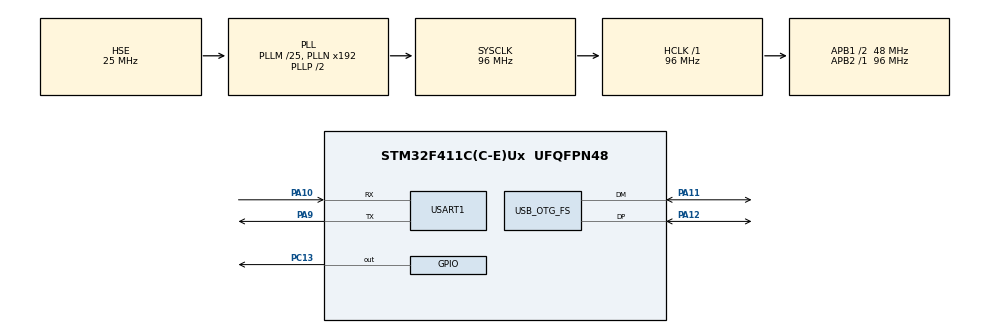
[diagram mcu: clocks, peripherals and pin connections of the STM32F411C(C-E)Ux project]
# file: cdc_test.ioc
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Dma.Request0=USART1_RX
Dma.USART1_RX.0.Direction=DMA_PERIPH_TO_MEMORY
Dma.USART1_RX.0.FIFOMode=DMA_FIFOMODE_DISABLE
Dma.USART1_RX.0.Instance=DMA2_Stream2
Dma.USART1_RX.0.MemDataAlignment=DMA_MDATAALIGN_BYTE
Dma.USART1_RX.0.MemInc=DMA_MINC_ENABLE
Dma.USART1_RX.0.Mode=DMA_CIRCULAR
Dma.USART1_RX.0.PeriphDataAlignment=DMA_PDATAALIGN_BYTE
Dma.USART1_RX.0.PeriphInc=DMA_PINC_DISABLE
Dma.USART1_RX.0.Priority=DMA_PRIORITY_LOW
Mcu.Family=STM32F4
Mcu.Name=STM32F411C(C-E)Ux
Mcu.Package=UFQFPN48
NVIC.DMA2_Stream2_IRQn=true\:0\:0\:false\:false\:true\:false\:true\:true
NVIC.OTG_FS_IRQn=true\:0\:0\:false\:false\:true\:false\:true\:true
NVIC.PriorityGroup=NVIC_PRIORITYGROUP_4
NVIC.TIM3_IRQn=true\:0\:0\:false\:false\:true\:true\:true\:true
PA10.Mode=Asynchronous
PA10.Signal=USART1_RX
PA11.Mode=Device_Only
PA11.Signal=USB_OTG_FS_DM
PA12.Mode=Device_Only
PA12.Signal=USB_OTG_FS_DP
PA13.Mode=Serial_Wire
PA13.Signal=SYS_JTMS-SWDIO
PA14.Mode=Serial_Wire
PA14.Signal=SYS_JTCK-SWCLK
PA9.Mode=Asynchronous
PA9.Signal=USART1_TX
PC13-ANTI_TAMP.Signal=GPIO_Output
PH0\ -\ OSC_IN.Mode=HSE-External-Oscillator
PH0\ -\ OSC_IN.Signal=RCC_OSC_IN
PH1\ -\ OSC_OUT.Mode=HSE-External-Oscillator
PH1\ -\ OSC_OUT.Signal=RCC_OSC_OUT
ProjectManager.HeapSize=0x200
ProjectManager.StackSize=0x400
ProjectManager.TargetToolchain=STM32CubeIDE
RCC.48MHZClocksFreq_Value=48000000
RCC.AHBFreq_Value=96000000
RCC.APB1CLKDivider=RCC_HCLK_DIV2
RCC.APB1Freq_Value=48000000
RCC.APB1TimFreq_Value=96000000
RCC.APB2Freq_Value=96000000
RCC.APB2TimFreq_Value=96000000
RCC.CortexFreq_Value=96000000
RCC.HCLKFreq_Value=96000000
RCC.HSE_VALUE=25000000
RCC.HSI_VALUE=16000000
RCC.LSE_VALUE=32768
RCC.PLLM=25
RCC.SYSCLKFreq_VALUE=96000000
RCC.SYSCLKSource=RCC_SYSCLKSOURCE_PLLCLK
RCC.VCOOutputFreq_Value=192000000
TIM3.Period=10000
TIM3.Prescaler=9600-1
USART1.VirtualMode=VM_ASYNC
USB_DEVICE.APP_RX_DATA_SIZE=1024
USB_DEVICE.APP_TX_DATA_SIZE=1024
USB_DEVICE.CLASS_NAME_FS=CDC
USB_DEVICE.VirtualMode=Cdc
USB_DEVICE.VirtualModeFS=Cdc_FS
USB_OTG_FS.VirtualMode=Device_Only
VP_TIM3_VS_ClockSourceINT.Mode=Internal
VP_USB_DEVICE_VS_USB_DEVICE_CDC_FS.Mode=CDC_FS
board=custom

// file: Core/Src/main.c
/* USER CODE BEGIN Header */
/**
  ******************************************************************************
  * @file           : main.c
  * @brief          : Main program body
  ******************************************************************************
  * @attention
  *
  * Copyright (c) 2024 STMicroelectronics.
  * All rights reserved.
  *
  * This software is licensed under terms that can be found in the LICENSE file
  * in the root directory of this software component.
  * If no LICENSE file comes with this software, it is provided AS-IS.
  *
  ******************************************************************************
  */
/* USER CODE END Header */
#include "main.h"
#include "dma.h"
#include "tim.h"
#include "usart.h"
#include "usb_device.h"
#include "gpio.h"

/* USER CODE BEGIN PTD */
typedef enum{
	CDC = 0,
	UART1,
}send_type;

/* USER CODE END PTD */

/* USER CODE BEGIN PD */
#define PC13_ON   HAL_GPIO_WritePin(GPIOC,GPIO_PIN_13,GPIO_PIN_SET);
#define PC13_OFF  HAL_GPIO_WritePin(GPIOC,GPIO_PIN_13,GPIO_PIN_RESET);
#define PC13_TOGGLE  HAL_GPIO_TogglePin(GPIOC,GPIO_PIN_13);
#define PC13_SET(X)  HAL_GPIO_WritePin(GPIOC,GPIO_PIN_13,X);

/* USER CODE END PD */

/* USER CODE BEGIN PV */
uint8_t cdc_rx_buffer[5];
bool cdc_rx_flag = false;

uint8_t uart_rx_buffer;
bool uart_rx_flag;

uint8_t tx_buffer[32];

uint8_t real_time_timer[3]={0,0,0};
bool is_afternoon=false;
bool input_current_time_flag=false;
/* USER CODE END PV */

void SystemClock_Config(void);
/* USER CODE BEGIN PFP */
extern uint8_t CDC_Transmit_FS(uint8_t* Buf, uint16_t Len);
void send(send_type Send_Type,char *fmt,...);

void HAL_TIM_PeriodElapsedCallback(TIM_HandleTypeDef *htim)
{
	uint8_t rt_divider;
	if(htim == &htim3 && input_current_time_flag){
		if(is_afternoon){
			send(UART1, "Afternoon ");
			rt_divider=12;
		}
		else{
			send(UART1, "Noon ");
			rt_divider=13;
		}
		real_time_timer[0]++;
		if(real_time_timer[0]>=60){
			real_time_timer[0] = 0;
			real_time_timer[1]++;
		}
		if(real_time_timer[1]>=60){
			real_time_timer[1] = 0;
			real_time_timer[2]++;
		}
		if(real_time_timer[2]>=rt_divider){
			real_time_timer[2]%=rt_divider;
			is_afternoon=!is_afternoon;
		}
		send(UART1, "%02d:%02d:%02d\n",
				real_time_timer[2],real_time_timer[1],real_time_timer[0]);
	}
  UNUSED(htim);
}

void HAL_UART_RxCpltCallback(UART_HandleTypeDef *huart)
{
	if(huart->Instance == USART1){
		uart_rx_flag = true;
		HAL_UART_Receive_DMA(&huart1,&uart_rx_buffer,1);
	}
  UNUSED(huart);
}

void send(send_type Send_Type,char *fmt,...){
	va_list arg;
	va_start(arg,fmt);
	vsnprintf((char *)tx_buffer,32,fmt,arg);

	if(Send_Type==CDC){
		CDC_Transmit_FS(&tx_buffer[0], 32);
	}
	else if(Send_Type==UART1){
		HAL_UART_Transmit(&huart1, &tx_buffer[0], 32, 10);
	}

	va_end(arg);
	memset(tx_buffer,0,32);
}

uint16_t unsigned_atoi(const uint8_t *number,size_t len){
  uint16_t val = 0;
  for(size_t i=0;i<len;i++){
    if(number[i]<='9' && number[i]>='0'){
      val = number[i]-'0'+val*10;
    }
    else{
      return 'f';
    }
  }
  return val;
}

void init_timer(){
  uint8_t count = 0;
  send(UART1,"\x1b[2J\n");
  send(CDC,"\x1b[2J\ninput currnet time : ");
  input_current_time_flag = false;
	if(!input_current_time_flag){
		cdc_rx_flag = false;
		while (1){
			if(cdc_rx_flag){
				switch (count){
				case 0:
					is_afternoon = unsigned_atoi(&cdc_rx_buffer[0],1);
					count++;
					break;
				case 1:
					real_time_timer[2]= unsigned_atoi(&cdc_rx_buffer[0],1)*10;
					count++;
					break;
				case 2:
					real_time_timer[2]+= unsigned_atoi(&cdc_rx_buffer[0],1);
					count++;
					break;
				case 3:
					real_time_timer[1]= unsigned_atoi(&cdc_rx_buffer[0],1)*10;
					count++;
					break;
				case 4:
					real_time_timer[1]+= unsigned_atoi(&cdc_rx_buffer[0],1);
					count++;
					break;
				}
				send(CDC,"%c",cdc_rx_buffer[0]);
				cdc_rx_buffer[0] = 0;
				cdc_rx_flag = 0;
				if(count == 5){
					send(CDC,"\n");
					input_current_time_flag = true;
					real_time_timer[0] = 0;
					htim3.Instance->CNT = 0;
					break;
				}
			}
		}
	}
}
/* USER CODE END PFP */

int main(void)
{

  /* MCU Configuration--------------------------------------------------------*/

  /* Reset of all peripherals, Initializes the Flash interface and the Systick. */
  HAL_Init();

  /* Configure the system clock */
  SystemClock_Config();

  /* Initialize all configured peripherals */
  MX_GPIO_Init();
  MX_DMA_Init();
  MX_USART1_UART_Init();
  MX_USB_DEVICE_Init();
  MX_TIM3_Init();
  /* USER CODE BEGIN 2 */
  UART_Start_Receive_DMA(&huart1, &uart_rx_buffer, 1);
  uint32_t pretime=HAL_GetTick();
  HAL_TIM_Base_Start_IT(&htim3);
  /* USER CODE END 2 */

  /* Infinite loop */
  /* USER CODE BEGIN WHILE */
  while (1)
  {
  	if(HAL_GetTick()-pretime>300){
  		PC13_TOGGLE
			pretime = HAL_GetTick();
  	}
  	if(cdc_rx_flag){
  		if(cdc_rx_buffer[0]=='i'){
  			init_timer();
  		}
  	  uart_rx_flag = false;
  	}
    /* USER CODE END WHILE */

  }
}

void SystemClock_Config(void)
{
  RCC_OscInitTypeDef RCC_OscInitStruct = {0};
  RCC_ClkInitTypeDef RCC_ClkInitStruct = {0};

  /** Configure the main internal regulator output voltage
  */
  __HAL_RCC_PWR_CLK_ENABLE();
  __HAL_PWR_VOLTAGESCALING_CONFIG(PWR_REGULATOR_VOLTAGE_SCALE1);

  /** Initializes the RCC Oscillators according to the specified parameters
  * in the RCC_OscInitTypeDef structure.
  */
  RCC_OscInitStruct.OscillatorType = RCC_OSCILLATORTYPE_HSE;
  RCC_OscInitStruct.HSEState = RCC_HSE_ON;
  RCC_OscInitStruct.PLL.PLLState = RCC_PLL_ON;
  RCC_OscInitStruct.PLL.PLLSource = RCC_PLLSOURCE_HSE;
  RCC_OscInitStruct.PLL.PLLM = 25;
  RCC_OscInitStruct.PLL.PLLN = 192;
  RCC_OscInitStruct.PLL.PLLP = RCC_PLLP_DIV2;
  RCC_OscInitStruct.PLL.PLLQ = 4;
  if (HAL_RCC_OscConfig(&RCC_OscInitStruct) != HAL_OK)
  {
    Error_Handler();
  }

  /** Initializes the CPU, AHB and APB buses clocks
  */
  RCC_ClkInitStruct.ClockType = RCC_CLOCKTYPE_HCLK|RCC_CLOCKTYPE_SYSCLK
                              |RCC_CLOCKTYPE_PCLK1|RCC_CLOCKTYPE_PCLK2;
  RCC_ClkInitStruct.SYSCLKSource = RCC_SYSCLKSOURCE_PLLCLK;
  RCC_ClkInitStruct.AHBCLKDivider = RCC_SYSCLK_DIV1;
  RCC_ClkInitStruct.APB1CLKDivider = RCC_HCLK_DIV2;
  RCC_ClkInitStruct.APB2CLKDivider = RCC_HCLK_DIV1;

  if (HAL_RCC_ClockConfig(&RCC_ClkInitStruct, FLASH_LATENCY_3) != HAL_OK)
  {
    Error_Handler();
  }
}

void Error_Handler(void)
{
  __disable_irq();
  while (1)
  {
  }
}
